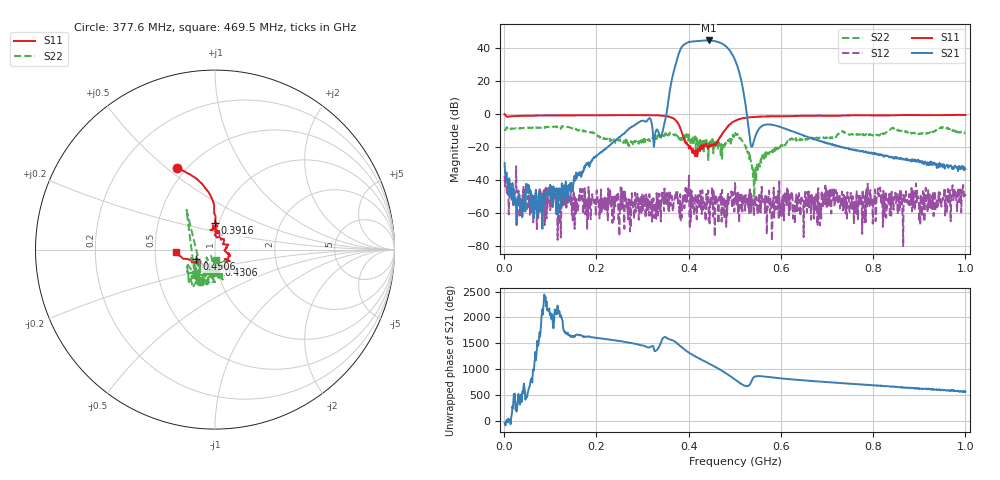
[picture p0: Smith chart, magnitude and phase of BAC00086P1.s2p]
!measured: 2026-10-29T11:22:41
!cal_instance: BB
!cal_created: 2026-10-29T10:46
!cal_file: SOLT_12_1_00M-1_00G_1001pt.cal
!port1_delay_ps: 0.0
!port2_delay_ps: 0.0
!host: lindon
! Created with skrf 2.1.0 (http://scikit-rf.org).
# Hz S RI R 50.0
!freq ReS11 ImS11 ReS21 ImS21 ReS12 ImS12 ReS22 ImS22
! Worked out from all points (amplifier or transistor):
!   1001 points, 1 MHz to 1 GHz, reference 50 ohm
!   highest |S21| = 44.3 dB at 443.6 MHz (marker M1)
!   |S21| within 3 dB of that: 388.2 MHz to 478.5 MHz (90.28 MHz wide, 20.8 % of centre)
!   unconditionally stable (mu >= 1): start of sweep to 398.6 MHz; 400.8 MHz to 450.5 MHz; 500.5 MHz to end of sweep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
!   at 166.8 MHz: K = 2068.88, MAG = -30.3 dB, |S12| = -49.7 dB
!   at 500.5 MHz: K = 0.96, MSG = 37.1 dB, |S12| = -41.7 dB
!   at 1 GHz: K = 965.86, MAG = -24.7 dB, |S12| = -49.6 dB
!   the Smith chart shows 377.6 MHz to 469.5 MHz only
!   S11 on the Smith chart (normalised r, x): 377.6 MHz: 0.45, +0.54; 391.6 MHz: 0.96, +0.29; 430.6 MHz: 1.02, -0.18; 450.6 MHz: 0.81, -0.09; 469.5 MHz: 0.64, -0.02
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1000000  -0.2557 0.9467  0.026 -0.0197  -0.00971 0.00952  0.304 -0.0657
1.67833e8  0.5732 -0.6963  -0.0113 -0.00704  0.00243 -0.00179  0.00523 -0.3183
3.34666e8  -0.7346 -0.5186  0.2471 -0.1325  -0.000247 -0.00286  0.0563 -0.1718
3.66634e8  -0.6535 0.3237  -6.185 15.32  0.00127 0.000387  -0.0232 -0.2358
3.77623e8  -0.2131 0.4534  46.19 37.04  -0.000956 0.00141  -0.0822 -0.177
3.85615e8  -0.0093 0.2641  99.24 -36.98  -0.000935 0.00198  -0.1201 -0.1106
3.91609e8  9.94e-05 0.1489  55.29 -113.4  0.00053 0.00176  -0.0864 -0.1099
3.99601e8  0.00146 0.1137  -61.95 -130.9  0.000604 -0.00413  -0.1179 -0.1024
4.1059e8  0.0336 0.0546  -152.8 -13.11  -0.00292 0.000494  0.000496 -0.1816
4.19581e8  0.061 -0.0115  -121.7 99.03  -0.00196 0.000624  -0.0658 -0.1387
4.3057e8  0.0199 -0.0868  -1.412 161.2  -0.00277 0.000459  -0.0701 -0.1371
4.43557e8  -0.0591 -0.0911  140 84.42  -0.000185 -0.000573  2.62e-05 -0.1319
4.5055e8  -0.1036 -0.0529  161.3 -5.661  0.00356 -0.00443  -0.0859 -0.082
4.61539e8  -0.1293 -0.071  86.23 -123.4  -0.000523 0.00202  -0.0227 -0.1132
4.69531e8  -0.2172 -0.0126  -14.09 -136.4  0.000676 0.00379  0.00653 -0.0553
4.82518e8  -0.275 0.2659  -101.4 -21.16  0.000692 0.00226  0.0353 -0.1364
4.91509e8  -0.1343 0.4845  -53.36 50.48  0.000412 -0.004  -0.0385 -0.1217
5.005e8  0.1142 0.6121  7.854 41.76  -0.00741 0.0036  -0.1531 -0.2329
5.17483e8  0.5507 0.4912  5.387 -2.321  -0.00272 0.000138  -0.1337 -0.056
6.67333e8  0.4084 -0.7828  0.113 0.1398  0.00133 -0.00121  0.1169 -0.131
8.34166e8  -0.1555 -0.8831  0.03 -0.0412  0.00163 -0.00218  0.0188 -0.3316
1e9  -0.5268 -0.7587  -0.0193 -0.00946  -0.00328 -0.000352  -0.0634 -0.2533
